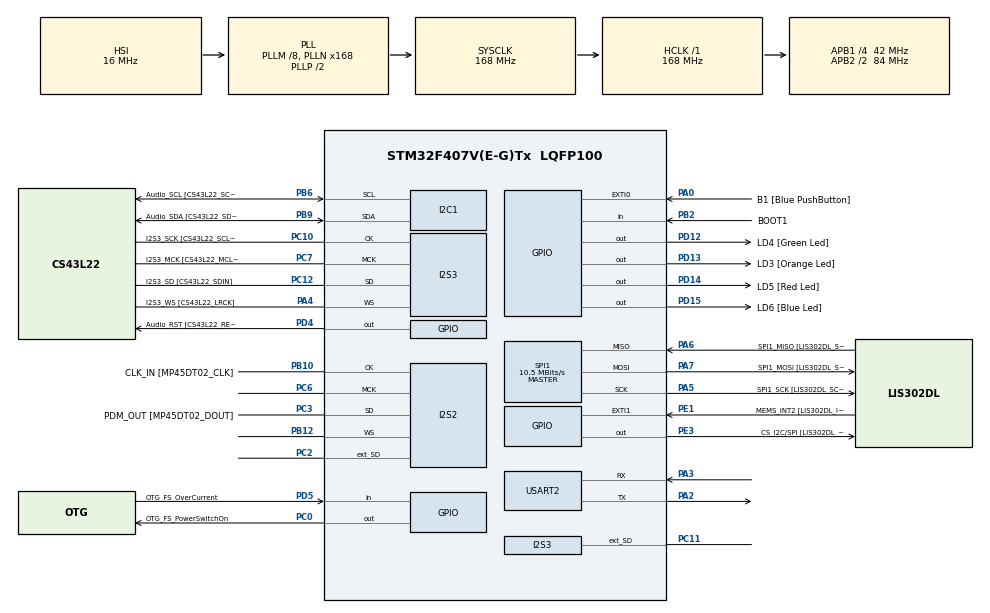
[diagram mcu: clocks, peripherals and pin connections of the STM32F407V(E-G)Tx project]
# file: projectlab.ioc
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I2S2.AudioFreq=I2S_AUDIOFREQ_32K
I2S2.ErrorAudioFreq=1.9 %
I2S2.FullDuplexMode=I2S_FULLDUPLEXMODE_ENABLE
I2S2.Mode=I2S_MODE_MASTER_RX
I2S2.RealAudioFreq=32.608 KHz
I2S3.AudioFreq=I2S_AUDIOFREQ_48K
I2S3.ErrorAudioFreq=-2.34 %
I2S3.FullDuplexMode=I2S_FULLDUPLEXMODE_ENABLE
I2S3.RealAudioFreq=46.875 KHz
Mcu.Family=STM32F4
Mcu.Name=STM32F407V(E-G)Tx
Mcu.Package=LQFP100
NVIC.PriorityGroup=NVIC_PRIORITYGROUP_0
PA0-WKUP.GPIO_Label=B1 [Blue PushButton]
PA0-WKUP.Signal=GPXTI0
PA10.GPIO_Label=OTG_FS_ID
PA10.GPIO_Mode=GPIO_MODE_AF_PP
PA10.GPIO_PuPd=GPIO_NOPULL
PA10.GPIO_Speed=GPIO_SPEED_FREQ_LOW
PA10.Signal=USB_OTG_FS_ID
PA11.GPIO_Label=OTG_FS_DM
PA11.GPIO_Mode=GPIO_MODE_AF_PP
PA11.GPIO_PuPd=GPIO_NOPULL
PA11.GPIO_Speed=GPIO_SPEED_FREQ_LOW
PA11.Signal=USB_OTG_FS_DM
PA12.GPIO_Label=OTG_FS_DP
PA12.GPIO_Mode=GPIO_MODE_AF_PP
PA12.GPIO_PuPd=GPIO_NOPULL
PA12.GPIO_Speed=GPIO_SPEED_FREQ_LOW
PA12.Signal=USB_OTG_FS_DP
PA13.GPIO_Label=SWDIO
PA13.Signal=SYS_JTMS-SWDIO
PA14.GPIO_Label=SWCLK
PA14.Signal=SYS_JTCK-SWCLK
PA2.Mode=Asynchronous
PA2.Signal=USART2_TX
PA3.Mode=Asynchronous
PA3.Signal=USART2_RX
PA4.GPIO_Label=I2S3_WS [CS43L22_LRCK]
PA4.GPIO_Mode=GPIO_MODE_AF_PP
PA4.GPIO_PuPd=GPIO_NOPULL
PA4.GPIO_Speed=GPIO_SPEED_FREQ_LOW
PA4.Mode=Full_Duplex_Master
PA4.Signal=I2S3_WS
PA5.GPIO_Label=SPI1_SCK [LIS302DL_SCL/SPC]
PA5.GPIO_Mode=GPIO_MODE_AF_PP
PA5.GPIO_PuPd=GPIO_NOPULL
PA5.GPIO_Speed=GPIO_SPEED_FREQ_LOW
PA5.Mode=Full_Duplex_Master
PA5.Signal=SPI1_SCK
PA6.GPIO_Label=SPI1_MISO [LIS302DL_SDO]
PA6.GPIO_Mode=GPIO_MODE_AF_PP
PA6.GPIO_PuPd=GPIO_NOPULL
PA6.GPIO_Speed=GPIO_SPEED_FREQ_LOW
PA6.Mode=Full_Duplex_Master
PA6.Signal=SPI1_MISO
PA7.GPIO_Label=SPI1_MOSI [LIS302DL_SDA/SDI/SDO]
PA7.GPIO_Mode=GPIO_MODE_AF_PP
PA7.GPIO_PuPd=GPIO_NOPULL
PA7.GPIO_Speed=GPIO_SPEED_FREQ_LOW
PA7.Mode=Full_Duplex_Master
PA7.Signal=SPI1_MOSI
PA9.GPIO_Label=VBUS_FS
PA9.GPIO_Mode=GPIO_MODE_INPUT
PA9.GPIO_PuPd=GPIO_NOPULL
PA9.Signal=USB_OTG_FS_VBUS
PB10.GPIO_Label=CLK_IN [MP45DT02_CLK]
PB10.GPIO_Mode=GPIO_MODE_AF_PP
PB10.GPIO_PuPd=GPIO_NOPULL
PB10.GPIO_Speed=GPIO_SPEED_FREQ_LOW
PB10.Mode=Full_Duplex_Master
PB10.Signal=I2S2_CK
PB12.Mode=Full_Duplex_Master
PB12.Signal=I2S2_WS
PB2.GPIO_Label=BOOT1
PB2.GPIO_Mode=GPIO_MODE_INPUT
PB2.GPIO_PuPd=GPIO_NOPULL
PB2.Signal=GPIO_Input
PB3.GPIO_Label=SWO
PB3.Signal=SYS_JTDO-SWO
PB6.GPIO_Label=Audio_SCL [CS43L22_SCL]
PB6.GPIO_Mode=GPIO_MODE_AF_OD
PB6.GPIO_PuPd=GPIO_NOPULL
PB6.GPIO_Speed=GPIO_SPEED_FREQ_LOW
PB6.Mode=I2C
PB6.Signal=I2C1_SCL
PB9.GPIO_Label=Audio_SDA [CS43L22_SDA]
PB9.GPIO_Mode=GPIO_MODE_AF_OD
PB9.GPIO_PuPd=GPIO_NOPULL
PB9.GPIO_Speed=GPIO_SPEED_FREQ_LOW
PB9.Mode=I2C
PB9.Signal=I2C1_SDA
PC0.GPIO_Label=OTG_FS_PowerSwitchOn
PC0.GPIO_PuPd=GPIO_NOPULL
PC0.GPIO_Speed=GPIO_SPEED_FREQ_LOW
PC0.PinState=GPIO_PIN_SET
PC0.Signal=GPIO_Output
PC10.GPIO_Label=I2S3_SCK [CS43L22_SCLK]
PC10.GPIO_Mode=GPIO_MODE_AF_PP
PC10.GPIO_PuPd=GPIO_NOPULL
PC10.GPIO_Speed=GPIO_SPEED_FREQ_LOW
PC10.Mode=Full_Duplex_Master
PC10.Signal=I2S3_CK
PC11.Mode=Full_Duplex_Master
PC11.Signal=I2S3_ext_SD
PC12.GPIO_Label=I2S3_SD [CS43L22_SDIN]
PC12.GPIO_Mode=GPIO_MODE_AF_PP
PC12.GPIO_PuPd=GPIO_NOPULL
PC12.GPIO_Speed=GPIO_SPEED_FREQ_LOW
PC12.Mode=Full_Duplex_Master
PC12.Signal=I2S3_SD
PC14-OSC32_IN.GPIO_Label=PC14-OSC32_IN
PC14-OSC32_IN.Signal=RCC_OSC32_IN
PC15-OSC32_OUT.GPIO_Label=PC15-OSC32_OUT
PC15-OSC32_OUT.Signal=RCC_OSC32_OUT
PC2.Mode=Full_Duplex_Master
PC2.Signal=I2S2_ext_SD
PC3.GPIO_Label=PDM_OUT [MP45DT02_DOUT]
PC3.GPIO_Mode=GPIO_MODE_AF_PP
PC3.GPIO_PuPd=GPIO_NOPULL
PC3.GPIO_Speed=GPIO_SPEED_FREQ_LOW
PC3.Mode=Full_Duplex_Master
PC3.Signal=I2S2_SD
PC6.Mode=Master_Clock_Activated
PC6.Signal=I2S2_MCK
PC7.GPIO_Label=I2S3_MCK [CS43L22_MCLK]
PC7.GPIO_Mode=GPIO_MODE_AF_PP
PC7.GPIO_PuPd=GPIO_NOPULL
PC7.GPIO_Speed=GPIO_SPEED_FREQ_LOW
PC7.Mode=Master_Clock_Activated
PC7.Signal=I2S3_MCK
PD12.GPIO_Label=LD4 [Green Led]
PD12.GPIO_PuPd=GPIO_NOPULL
PD12.GPIO_Speed=GPIO_SPEED_FREQ_LOW
PD12.Signal=GPIO_Output
PD13.GPIO_Label=LD3 [Orange Led]
PD13.GPIO_PuPd=GPIO_NOPULL
PD13.GPIO_Speed=GPIO_SPEED_FREQ_LOW
PD13.Signal=GPIO_Output
PD14.GPIO_Label=LD5 [Red Led]
PD14.GPIO_PuPd=GPIO_NOPULL
PD14.GPIO_Speed=GPIO_SPEED_FREQ_LOW
PD14.Signal=GPIO_Output
PD15.GPIO_Label=LD6 [Blue Led]
PD15.GPIO_PuPd=GPIO_NOPULL
PD15.GPIO_Speed=GPIO_SPEED_FREQ_LOW
PD15.Signal=GPIO_Output
PD4.GPIO_Label=Audio_RST [CS43L22_RESET]
PD4.GPIO_PuPd=GPIO_NOPULL
PD4.GPIO_Speed=GPIO_SPEED_FREQ_LOW
PD4.Signal=GPIO_Output
PD5.GPIO_Label=OTG_FS_OverCurrent
PD5.GPIO_Mode=GPIO_MODE_INPUT
PD5.GPIO_PuPd=GPIO_NOPULL
PD5.Signal=GPIO_Input
PE1.GPIO_Label=MEMS_INT2 [LIS302DL_INT2]
PE1.GPIO_ModeDefaultEXTI=GPIO_MODE_EVT_RISING
PE1.GPIO_PuPd=GPIO_NOPULL
PE1.Signal=GPXTI1
PE3.GPIO_Label=CS_I2C/SPI [LIS302DL_CS_I2C/SPI]
PE3.GPIO_PuPd=GPIO_NOPULL
PE3.GPIO_Speed=GPIO_SPEED_FREQ_LOW
PE3.Signal=GPIO_Output
PH0-OSC_IN.GPIO_Label=PH0-OSC_IN
PH0-OSC_IN.Signal=RCC_OSC_IN
PH1-OSC_OUT.GPIO_Label=PH1-OSC_OUT
PH1-OSC_OUT.Signal=RCC_OSC_OUT
ProjectManager.HeapSize=0x200
ProjectManager.StackSize=0x400
ProjectManager.TargetToolchain=SW4STM32
RCC.48MHZClocksFreq_Value=48000000
RCC.AHBFreq_Value=168000000
RCC.APB1CLKDivider=RCC_HCLK_DIV4
RCC.APB1Freq_Value=42000000
RCC.APB1TimFreq_Value=84000000
RCC.APB2CLKDivider=RCC_HCLK_DIV2
RCC.APB2Freq_Value=84000000
RCC.APB2TimFreq_Value=168000000
RCC.CortexFreq_Value=168000000
RCC.HCLKFreq_Value=168000000
RCC.HSE_VALUE=8000000
RCC.HSI_VALUE=16000000
RCC.LSE_VALUE=32768
RCC.PLLM=8
RCC.PLLN=168
RCC.PLLQ=7
RCC.SYSCLKFreq_VALUE=168000000
RCC.SYSCLKSource=RCC_SYSCLKSOURCE_PLLCLK
RCC.VCOOutputFreq_Value=336000000
SPI1.BaudRatePrescaler=SPI_BAUDRATEPRESCALER_8
SPI1.CalculateBaudRate=10.5 MBits/s
SPI1.Mode=SPI_MODE_MASTER
board=STM32F407G-DISC1

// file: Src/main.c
/**
 ******************************************************************************
 * File Name          : main.c
 * Description        : Main program body
 ******************************************************************************
 *
 * COPYRIGHT(c) 2559 STMicroelectronics
 *
 * Redistribution and use in source and binary forms, with or without modification,
 * are permitted provided that the following conditions are met:
 *   1. Redistributions of source code must retain the above copyright notice,
 *      this list of conditions and the following disclaimer.
 *   2. Redistributions in binary form must reproduce the above copyright notice,
 *      this list of conditions and the following disclaimer in the documentation
 *      and/or other materials provided with the distribution.
 *   3. Neither the name of STMicroelectronics nor the names of its contributors
 *      may be used to endorse or promote products derived from this software
 *      without specific prior written permission.
 *
 * THIS SOFTWARE IS PROVIDED BY THE COPYRIGHT HOLDERS AND CONTRIBUTORS "AS IS"
 * AND ANY EXPRESS OR IMPLIED WARRANTIES, INCLUDING, BUT NOT LIMITED TO, THE
 * IMPLIED WARRANTIES OF MERCHANTABILITY AND FITNESS FOR A PARTICULAR PURPOSE ARE
 * DISCLAIMED. IN NO EVENT SHALL THE COPYRIGHT HOLDER OR CONTRIBUTORS BE LIABLE
 * FOR ANY DIRECT, INDIRECT, INCIDENTAL, SPECIAL, EXEMPLARY, OR CONSEQUENTIAL
 * DAMAGES (INCLUDING, BUT NOT LIMITED TO, PROCUREMENT OF SUBSTITUTE GOODS OR
 * SERVICES; LOSS OF USE, DATA, OR PROFITS; OR BUSINESS INTERRUPTION) HOWEVER
 * CAUSED AND ON ANY THEORY OF LIABILITY, WHETHER IN CONTRACT, STRICT LIABILITY,
 * OR TORT (INCLUDING NEGLIGENCE OR OTHERWISE) ARISING IN ANY WAY OUT OF THE USE
 * OF THIS SOFTWARE, EVEN IF ADVISED OF THE POSSIBILITY OF SUCH DAMAGE.
 *
 ******************************************************************************
 */
#include "main.h"
#include "stm32f4xx_hal.h"

I2C_HandleTypeDef hi2c1;

I2S_HandleTypeDef hi2s2;
I2S_HandleTypeDef hi2s3;

SPI_HandleTypeDef hspi1;

UART_HandleTypeDef huart2;

/* USER CODE BEGIN PV */
/* Private variables ---------------------------------------------------------*/
#define M_PI 3.14159265359
#define audiofreq 46875.0
double freq[] = { 220.0, 246.942, 130.813, 146.832, 164.814, 174.614, 195.998 };
uint16_t graph[7][400];
int ns[100];
int width = 80, height = 23;
int px, py;
int monster = 0;
int score = 0;
int sx[1010], sy[1010];
int ex[1010], ey[1010];
int status[1000];
int ani = 0;
char map[30][90];
int lose = 0;
char initmap[][81] =
		{
				"                                                                               ",
				"                                                      Score :   0000           ",
				"                                                                               ",
				"                                                                               ",
				"                                                                               ",
				"                                                                               ",
				"                                                                               ",
				"                                                                               ",
				"                                                                               ",
				"                                                                               ",
				"                                                                               ",
				"                                                                               ",
				"                                                                               ",
				"                                                                               ",
				"                                                                               ",
				"                                                                               ",
				"                                                                               ",
				"                                                                               ",
				"                                                                               ",
				"                                                                               ",
				"                                                                               ",
				"###############################################################################",
				"###############################################################################" };
/* USER CODE END PV */

void SystemClock_Config(void);
void Error_Handler(void);
static void MX_GPIO_Init(void);
static void MX_I2C1_Init(void);
static void MX_I2S2_Init(void);
static void MX_I2S3_Init(void);
static void MX_SPI1_Init(void);
static void MX_USART2_UART_Init(void);

/* USER CODE BEGIN PFP */
/* Private function prototypes -----------------------------------------------*/

/* USER CODE END PFP */

/* USER CODE BEGIN 0 */
int rand(unsigned long int time, int value) {
	time = time * 1103515245UL + 12345;
	return (unsigned int) (time / 65536) % value;
}

void accelerameter_init() {
	//SPI transmit
	// bring low to activate slave
	HAL_GPIO_WritePin(GPIOE, GPIO_PIN_3, GPIO_PIN_RESET);
	// set 0x67 to 0x20
	uint8_t address, data;
	address = 0x20;
	HAL_SPI_Transmit(&hspi1, &address, 1, 50);
	data = 0x67;
	HAL_SPI_Transmit(&hspi1, &data, 1, 50);
	// bring cs high
	HAL_GPIO_WritePin(GPIOE, GPIO_PIN_3, GPIO_PIN_SET);
}

void microphone_init() {
	return;
}

void speaker_init() {
	uint8_t send[2];
	uint8_t tmp;

	// power-up sequence

	// hold reset low
	HAL_GPIO_WritePin(GPIOD, GPIO_PIN_4, GPIO_PIN_RESET);
	// delay until power supplies are stable
	HAL_Delay(100);

	// bring reset high
	HAL_GPIO_WritePin(GPIOD, GPIO_PIN_4, GPIO_PIN_SET);

	// 3. set 0x01 to 0x02 (power ctl. 1)
	send[0] = 0x02;
	send[1] = 0x01;
	HAL_I2C_Master_Transmit(&hi2c1, 0x94, send, 2, 1000);

	// desired register setting

	// set volume a,b
	send[0] = 0x20;
	send[1] = 0xF0;
	HAL_I2C_Master_Transmit(&hi2c1, 0x94, send, 2, 1000);
	send[0] = 0x21;
	send[1] = 0xF0;
	HAL_I2C_Master_Transmit(&hi2c1, 0x94, send, 2, 1000);

	// required initialization setting

	// set 0x00 to 0x99
	send[0] = 0x00;
	send[1] = 0x99;
	HAL_I2C_Master_Transmit(&hi2c1, 0x94, send, 2, 1000);
	// set 0x47 to 0x80
	send[0] = 0x47;
	send[1] = 0x80;
	HAL_I2C_Master_Transmit(&hi2c1, 0x94, send, 2, 1000);
	// set 1'b to bit 7 to 0x32
	send[0] = 0x32;
	HAL_I2C_Master_Transmit(&hi2c1, 0x94, send, 1, 1000);
	HAL_I2C_Master_Receive(&hi2c1, 0x94, &tmp, 1, 1000);
	send[1] = tmp | 128;
	HAL_I2C_Master_Transmit(&hi2c1, 0x94, send, 2, 1000);
	// set 0'b to bit 7 to 0x32
	send[0] = 0x32;
	HAL_I2C_Master_Transmit(&hi2c1, 0x94, send, 1, 1000);
	HAL_I2C_Master_Receive(&hi2c1, 0x94, &tmp, 1, 1000);
	send[1] = tmp & 127;
	HAL_I2C_Master_Transmit(&hi2c1, 0x94, send, 2, 1000);
	// 4.5. Write 0x00 to register 0x00.
	send[0] = 0x00;
	send[1] = 0x00;
	HAL_I2C_Master_Transmit(&hi2c1, 0x94, send, 2, 1000);

	// set 0x9E to 0x02 (power ctl.1)
	send[0] = 0x02;
	send[1] = 0x9E;
	HAL_I2C_Master_Transmit(&hi2c1, 0x94, send, 2, 1000);

	// 0 to 0xFFF
	for (int i = 0; i < 7; i++) {
		ns[i] = (int) (audiofreq / freq[i]);
		for (int j = 0; j < ns[i]; j++) {
			graph[i][j] = (sin(2 * M_PI * j / ns[i]) + 1) * ((0xfff + 1) / 2);
		}
	}
}

void get_accelerameter(int8_t *axis) {
	HAL_GPIO_WritePin(GPIOE, GPIO_PIN_3, GPIO_PIN_RESET);
	// transmit address for receive data
	uint8_t address;
	// x
	//////////////////////////////////////////////////
	address = 0x29 + 0x80;
	HAL_SPI_Transmit(&hspi1, &address, 1, 50);
	HAL_SPI_Receive(&hspi1, &axis[0], 1, 50);

	// y
	//////////////////////////////////////////////////

	address = 0x2B + 0x80;
	HAL_SPI_Transmit(&hspi1, &address, 1, 50);
	HAL_SPI_Receive(&hspi1, &axis[1], 1, 50);

	// z
	//////////////////////////////////////////////////
	address = 0x2C + 0x80;
	HAL_SPI_Transmit(&hspi1, &address, 1, 50);
	HAL_SPI_Receive(&hspi1, &axis[2], 1, 50);
	//////////////////////////////////////////////////

	// bring cs high
	HAL_GPIO_WritePin(GPIOE, GPIO_PIN_3, GPIO_PIN_SET);
}
int absolute(int x) {
	return x < 0 ? -x : x;
}

int get_microphone() {
	int n = 100;
	uint16_t pdm_stream[n * 17];
	int pdm_signal[n * 17];
	int buffer[n * 17];
	int pcm_signal[n * 17];
	int reverse[17];

	HAL_I2S_Receive(&hi2s2, pdm_stream, n, 1000);
	for (int i = 0; i < n; i++) {
		for (int j = 0; j < 16; j++) {
			reverse[j] = pdm_stream[i] % 2;
			pdm_stream[i] >>= 1;
		}

		for (int j = 0; j < 16; j++) {
			pdm_signal[i * 16 + j] = reverse[15 - j];
		}
	}

	for (int i = 7; i + 8 < n * 16; i++) {
		int tmp = 0;
		for (int j = -7; j <= 8; j++)
			tmp += pdm_signal[i + j];
		buffer[i] = absolute(tmp - 8);
	}

	int ans = 0;
	for (int i = 14; i + 16 < n * 16; i++) {
		for (int j = -7; j <= 8; j++)
			ans += buffer[i + j];
	}

	char a[100];
	int len = sprintf(a, "%d", ans);
	return ans;
}

void playsound(char *str, int size) {
	for (int i = 0; i < size; i++) {
		if (str[i] - 'A' >= 0 && str[i] - 'A' < 7) {

			for (int j = 0; j < (int) (freq[str[i] - 'A'] / 2); j++)
				HAL_I2S_Transmit(&hi2s3, graph[str[i] - 'A'], ns[str[i] - 'A'],
						1000);
		}
	}
}

void writemario() {
	ani++;
	ani %= 2;
	map[px - 2][py] = 'O';
	map[px - 1][py] = '|';
	map[px - 1][py - 1] = '/';
	map[px - 1][py + 1] = '\\';
	map[px][py - 1 + ani] = '/';
	map[px][py + ani] = '\\';

}

void writemap() {
	for (int i = 0; i < height; i++) {
		HAL_UART_Transmit(&huart2, map[i], width, 1000);
		HAL_UART_Transmit(&huart2, "\n\r", 2, 1000);
	}
	HAL_UART_Transmit(&huart2, "\033[0;0H", strlen("\033[0;0H"), 1000);
}

void resetmap() {
	for (int i = 0; i < height; i++)
		for (int j = 0; j < width; j++)
			map[i][j] = initmap[i][j];
}

void writemonster() {
	for (int i = 1; i <= monster; i++) {
		if (status[i] == 0)
			continue;
		map[ex[i] - 2][ey[i]] = '-';
		map[ex[i] - 1][ey[i]] = '|';
		map[ex[i]][ey[i]] = '-';
		int temp = i;
		int p = 0;
		while (temp) {
			p++;
			map[ex[i] - 2][ey[i] - p] = '-';
			map[ex[i] - 1][ey[i] - p] = (temp % 10) + '0';
			map[ex[i]][ey[i] - p] = '-';
			temp /= 10;
		}
		map[ex[i] - 2][ey[i] - p - 1] = '-';
		map[ex[i] - 1][ey[i] - p - 1] = '|';
		map[ex[i]][ey[i] - p - 1] = '-';

		sx[i] = ex[i] - 2;
		sy[i] = ey[i] - p - 1;

	}
}

void addmonster() {
	monster++;
	status[monster] = 1;
	ex[monster] = 20;
	ey[monster] = 79;
	sx[monster] = 20;
	sy[monster] = 79;
}

int checkcollision() {
	int c = 0;
	for (int i = 1; i <= monster; i++) {
		if (status[i] == 1) {
			if (px >= sx[i] && py + 1 >= sy[i] && ex[i] >= px - 2
					&& ey[i] >= py - 1) {
				if (px <= 18) {
					playsound("AD", 2);
					score++;
					status[i] = 0;
				} else
					return 1;
			}
		} else
			c++;
	}

	return 0;
}

void writescore() {
	sprintf(&map[1][65], "%04d", score);
}
void writeend() {
	sprintf(&map[4][37], "Your score : %4d !!", score);
	sprintf(&map[6][30], "press user button to start new game");
}
void updatemonster() {
	for (int i = 1; i <= monster; i++)
		if (status[i] == 1) {
			ey[i]--;
			sy[i]--;
			if (ey[i] < 0)
				status[i] = 0;
		}
}
/* USER CODE END 0 */

int main(void) {

	/* MCU Configuration----------------------------------------------------------*/

	/* Reset of all peripherals, Initializes the Flash interface and the Systick. */
	HAL_Init();

	/* Configure the system clock */
	SystemClock_Config();

	/* Initialize all configured peripherals */
	MX_GPIO_Init();
	MX_I2C1_Init();
	MX_I2S2_Init();
	MX_I2S3_Init();
	MX_SPI1_Init();
	MX_USART2_UART_Init();

	/* USER CODE BEGIN 2 */
	accelerameter_init();
	microphone_init();
	speaker_init();
	int firsttime=0;
	/* USER CODE END 2 */

	/* Infinite loop */
	while (1) {

		/* USER CODE BEGIN 3 */

		//delay for stable sound
		if (firsttime==0 || HAL_GPIO_ReadPin(GPIOA, 1 << 0)) {
			firsttime=1;
			int8_t axis[4];
			int maxer = 10;
			int countdown = 3;
			int count = 0;
			lose = 0;
			score = 0;
			monster = 0;
			px = 20;
			py = 15;

			HAL_Delay(1000);
			int old_sound = get_microphone();

			while (1) {
				resetmap();
				int new_sound = get_microphone();
				if (px >= 5 && new_sound > old_sound + 1000 && px >= 19) {
					px -= 7;
				} else {
					if (px <= 19)
						px++;
				}
				old_sound = new_sound;

				int ran = rand((HAL_GetTick() * 3 + 5) * 7 + 9, 5);
				if (ran == 4) {
					count++;
					if (count >= maxer) {
						addmonster();
						count = 0;
						if (maxer > 0) {
							countdown--;
							if (countdown == 0) {
								maxer--;
								countdown = 3;
							}

						}
					}
				}

				get_accelerameter(axis);
				if (py >= 10 && axis[0] >= 30)
					py -= 2;
				else if (py <= 75 && axis[0] <= -30)
					py += 2;

				updatemonster();
				writemonster();
				writemario();
				writescore();
				writemap();
				int tmp = checkcollision();
				if (tmp == 1) {
					lose = 1;
					break;
				}

			}

			writeend();
			writemap();
		}
		HAL_Delay(1000);
	}

	/* USER CODE END 3 */

}

/** System Clock Configuration
 */
void SystemClock_Config(void) {

	RCC_OscInitTypeDef RCC_OscInitStruct;
	RCC_ClkInitTypeDef RCC_ClkInitStruct;
	RCC_PeriphCLKInitTypeDef PeriphClkInitStruct;

	/**Configure the main internal regulator output voltage
	 */
	__HAL_RCC_PWR_CLK_ENABLE()
	;

	__HAL_PWR_VOLTAGESCALING_CONFIG(PWR_REGULATOR_VOLTAGE_SCALE1);

	/**Initializes the CPU, AHB and APB busses clocks
	 */
	RCC_OscInitStruct.OscillatorType = RCC_OSCILLATORTYPE_HSI;
	RCC_OscInitStruct.HSIState = RCC_HSI_ON;
	RCC_OscInitStruct.HSICalibrationValue = 16;
	RCC_OscInitStruct.PLL.PLLState = RCC_PLL_ON;
	RCC_OscInitStruct.PLL.PLLSource = RCC_PLLSOURCE_HSI;
	RCC_OscInitStruct.PLL.PLLM = 8;
	RCC_OscInitStruct.PLL.PLLN = 168;
	RCC_OscInitStruct.PLL.PLLP = RCC_PLLP_DIV2;
	RCC_OscInitStruct.PLL.PLLQ = 7;
	if (HAL_RCC_OscConfig(&RCC_OscInitStruct) != HAL_OK) {
		Error_Handler();
	}

	/**Initializes the CPU, AHB and APB busses clocks
	 */
	RCC_ClkInitStruct.ClockType = RCC_CLOCKTYPE_HCLK | RCC_CLOCKTYPE_SYSCLK
			| RCC_CLOCKTYPE_PCLK1 | RCC_CLOCKTYPE_PCLK2;
	RCC_ClkInitStruct.SYSCLKSource = RCC_SYSCLKSOURCE_PLLCLK;
	RCC_ClkInitStruct.AHBCLKDivider = RCC_SYSCLK_DIV1;
	RCC_ClkInitStruct.APB1CLKDivider = RCC_HCLK_DIV4;
	RCC_ClkInitStruct.APB2CLKDivider = RCC_HCLK_DIV2;

	if (HAL_RCC_ClockConfig(&RCC_ClkInitStruct, FLASH_LATENCY_5) != HAL_OK) {
		Error_Handler();
	}

	PeriphClkInitStruct.PeriphClockSelection = RCC_PERIPHCLK_I2S;
	PeriphClkInitStruct.PLLI2S.PLLI2SN = 192;
	PeriphClkInitStruct.PLLI2S.PLLI2SR = 2;
	if (HAL_RCCEx_PeriphCLKConfig(&PeriphClkInitStruct) != HAL_OK) {
		Error_Handler();
	}

	/**Configure the Systick interrupt time
	 */
	HAL_SYSTICK_Config(HAL_RCC_GetHCLKFreq() / 1000);

	/**Configure the Systick
	 */
	HAL_SYSTICK_CLKSourceConfig(SYSTICK_CLKSOURCE_HCLK);

	/* SysTick_IRQn interrupt configuration */
	HAL_NVIC_SetPriority(SysTick_IRQn, 0, 0);
}

/* I2C1 init function */
static void MX_I2C1_Init(void) {

	hi2c1.Instance = I2C1;
	hi2c1.Init.ClockSpeed = 100000;
	hi2c1.Init.DutyCycle = I2C_DUTYCYCLE_2;
	hi2c1.Init.OwnAddress1 = 0;
	hi2c1.Init.AddressingMode = I2C_ADDRESSINGMODE_7BIT;
	hi2c1.Init.DualAddressMode = I2C_DUALADDRESS_DISABLE;
	hi2c1.Init.OwnAddress2 = 0;
	hi2c1.Init.GeneralCallMode = I2C_GENERALCALL_DISABLE;
	hi2c1.Init.NoStretchMode = I2C_NOSTRETCH_DISABLE;
	if (HAL_I2C_Init(&hi2c1) != HAL_OK) {
		Error_Handler();
	}

}

/* I2S2 init function */
static void MX_I2S2_Init(void) {

	hi2s2.Instance = SPI2;
	hi2s2.Init.Mode = I2S_MODE_MASTER_RX;
	hi2s2.Init.Standard = I2S_STANDARD_PHILIPS;
	hi2s2.Init.DataFormat = I2S_DATAFORMAT_16B;
	hi2s2.Init.MCLKOutput = I2S_MCLKOUTPUT_ENABLE;
	hi2s2.Init.AudioFreq = I2S_AUDIOFREQ_32K;
	hi2s2.Init.CPOL = I2S_CPOL_LOW;
	hi2s2.Init.ClockSource = I2S_CLOCK_PLL;
	hi2s2.Init.FullDuplexMode = I2S_FULLDUPLEXMODE_ENABLE;
	if (HAL_I2S_Init(&hi2s2) != HAL_OK) {
		Error_Handler();
	}

}

/* I2S3 init function */
static void MX_I2S3_Init(void) {

	hi2s3.Instance = SPI3;
	hi2s3.Init.Mode = I2S_MODE_MASTER_TX;
	hi2s3.Init.Standard = I2S_STANDARD_PHILIPS;
	hi2s3.Init.DataFormat = I2S_DATAFORMAT_16B;
	hi2s3.Init.MCLKOutput = I2S_MCLKOUTPUT_ENABLE;
	hi2s3.Init.AudioFreq = I2S_AUDIOFREQ_48K;
	hi2s3.Init.CPOL = I2S_CPOL_LOW;
	hi2s3.Init.ClockSource = I2S_CLOCK_PLL;
	hi2s3.Init.FullDuplexMode = I2S_FULLDUPLEXMODE_ENABLE;
	if (HAL_I2S_Init(&hi2s3) != HAL_OK) {
		Error_Handler();
	}

}

/* SPI1 init function */
static void MX_SPI1_Init(void) {

	hspi1.Instance = SPI1;
	hspi1.Init.Mode = SPI_MODE_MASTER;
	hspi1.Init.Direction = SPI_DIRECTION_2LINES;
	hspi1.Init.DataSize = SPI_DATASIZE_8BIT;
	hspi1.Init.CLKPolarity = SPI_POLARITY_LOW;
	hspi1.Init.CLKPhase = SPI_PHASE_1EDGE;
	hspi1.Init.NSS = SPI_NSS_SOFT;
	hspi1.Init.BaudRatePrescaler = SPI_BAUDRATEPRESCALER_8;
	hspi1.Init.FirstBit = SPI_FIRSTBIT_MSB;
	hspi1.Init.TIMode = SPI_TIMODE_DISABLE;
	hspi1.Init.CRCCalculation = SPI_CRCCALCULATION_DISABLE;
	hspi1.Init.CRCPolynomial = 10;
	if (HAL_SPI_Init(&hspi1) != HAL_OK) {
		Error_Handler();
	}

}

/* USART2 init function */
static void MX_USART2_UART_Init(void) {

	huart2.Instance = USART2;
	huart2.Init.BaudRate = 115200;
	huart2.Init.WordLength = UART_WORDLENGTH_8B;
	huart2.Init.StopBits = UART_STOPBITS_1;
	huart2.Init.Parity = UART_PARITY_NONE;
	huart2.Init.Mode = UART_MODE_TX_RX;
	huart2.Init.HwFlowCtl = UART_HWCONTROL_NONE;
	huart2.Init.OverSampling = UART_OVERSAMPLING_16;
	if (HAL_UART_Init(&huart2) != HAL_OK) {
		Error_Handler();
	}

}

/** Configure pins as
 * Analog
 * Input
 * Output
 * EVENT_OUT
 * EXTI
 PA9   ------> USB_OTG_FS_VBUS
 PA10   ------> USB_OTG_FS_ID
 PA11   ------> USB_OTG_FS_DM
 PA12   ------> USB_OTG_FS_DP
 */
static void MX_GPIO_Init(void) {

	GPIO_InitTypeDef GPIO_InitStruct;

	/* GPIO Ports Clock Enable */
	__HAL_RCC_GPIOE_CLK_ENABLE()
	;
	__HAL_RCC_GPIOC_CLK_ENABLE()
	;
	__HAL_RCC_GPIOH_CLK_ENABLE()
	;
	__HAL_RCC_GPIOA_CLK_ENABLE()
	;
	__HAL_RCC_GPIOB_CLK_ENABLE()
	;
	__HAL_RCC_GPIOD_CLK_ENABLE()
	;

	/*Configure GPIO pin Output Level */
	HAL_GPIO_WritePin(CS_I2C_SPI_GPIO_Port, CS_I2C_SPI_Pin, GPIO_PIN_RESET);

	/*Configure GPIO pin Output Level */
	HAL_GPIO_WritePin(OTG_FS_PowerSwitchOn_GPIO_Port, OTG_FS_PowerSwitchOn_Pin,
			GPIO_PIN_SET);

	/*Configure GPIO pin Output Level */
	HAL_GPIO_WritePin(GPIOD,
	LD4_Pin | LD3_Pin | LD5_Pin | LD6_Pin | Audio_RST_Pin, GPIO_PIN_RESET);

	/*Configure GPIO pin : CS_I2C_SPI_Pin */
	GPIO_InitStruct.Pin = CS_I2C_SPI_Pin;
	GPIO_InitStruct.Mode = GPIO_MODE_OUTPUT_PP;
	GPIO_InitStruct.Pull = GPIO_NOPULL;
	GPIO_InitStruct.Speed = GPIO_SPEED_FREQ_LOW;
	HAL_GPIO_Init(CS_I2C_SPI_GPIO_Port, &GPIO_InitStruct);

	/*Configure GPIO pin : OTG_FS_PowerSwitchOn_Pin */
	GPIO_InitStruct.Pin = OTG_FS_PowerSwitchOn_Pin;
	GPIO_InitStruct.Mode = GPIO_MODE_OUTPUT_PP;
	GPIO_InitStruct.Pull = GPIO_NOPULL;
	GPIO_InitStruct.Speed = GPIO_SPEED_FREQ_LOW;
	HAL_GPIO_Init(OTG_FS_PowerSwitchOn_GPIO_Port, &GPIO_InitStruct);

	/*Configure GPIO pin : B1_Pin */
	GPIO_InitStruct.Pin = B1_Pin;
	GPIO_InitStruct.Mode = GPIO_MODE_IT_RISING;
	GPIO_InitStruct.Pull = GPIO_NOPULL;
	HAL_GPIO_Init(B1_GPIO_Port, &GPIO_InitStruct);

	/*Configure GPIO pin : BOOT1_Pin */
	GPIO_InitStruct.Pin = BOOT1_Pin;
	GPIO_InitStruct.Mode = GPIO_MODE_INPUT;
	GPIO_InitStruct.Pull = GPIO_NOPULL;
	HAL_GPIO_Init(BOOT1_GPIO_Port, &GPIO_InitStruct);

	/*Configure GPIO pins : LD4_Pin LD3_Pin LD5_Pin LD6_Pin
	 Audio_RST_Pin */
	GPIO_InitStruct.Pin = LD4_Pin | LD3_Pin | LD5_Pin | LD6_Pin | Audio_RST_Pin;
	GPIO_InitStruct.Mode = GPIO_MODE_OUTPUT_PP;
	GPIO_InitStruct.Pull = GPIO_NOPULL;
	GPIO_InitStruct.Speed = GPIO_SPEED_FREQ_LOW;
	HAL_GPIO_Init(GPIOD, &GPIO_InitStruct);

	/*Configure GPIO pin : VBUS_FS_Pin */
	GPIO_InitStruct.Pin = VBUS_FS_Pin;
	GPIO_InitStruct.Mode = GPIO_MODE_INPUT;
	GPIO_InitStruct.Pull = GPIO_NOPULL;
	HAL_GPIO_Init(VBUS_FS_GPIO_Port, &GPIO_InitStruct);

	/*Configure GPIO pins : OTG_FS_ID_Pin OTG_FS_DM_Pin OTG_FS_DP_Pin */
	GPIO_InitStruct.Pin = OTG_FS_ID_Pin | OTG_FS_DM_Pin | OTG_FS_DP_Pin;
	GPIO_InitStruct.Mode = GPIO_MODE_AF_PP;
	GPIO_InitStruct.Pull = GPIO_NOPULL;
	GPIO_InitStruct.Speed = GPIO_SPEED_FREQ_LOW;
	GPIO_InitStruct.Alternate = GPIO_AF10_OTG_FS;
	HAL_GPIO_Init(GPIOA, &GPIO_InitStruct);

	/*Configure GPIO pin : OTG_FS_OverCurrent_Pin */
	GPIO_InitStruct.Pin = OTG_FS_OverCurrent_Pin;
	GPIO_InitStruct.Mode = GPIO_MODE_INPUT;
	GPIO_InitStruct.Pull = GPIO_NOPULL;
	HAL_GPIO_Init(OTG_FS_OverCurrent_GPIO_Port, &GPIO_InitStruct);

	/*Configure GPIO pin : MEMS_INT2_Pin */
	GPIO_InitStruct.Pin = MEMS_INT2_Pin;
	GPIO_InitStruct.Mode = GPIO_MODE_EVT_RISING;
	GPIO_InitStruct.Pull = GPIO_NOPULL;
	HAL_GPIO_Init(MEMS_INT2_GPIO_Port, &GPIO_InitStruct);

}

void Error_Handler(void) {
	while (1) {
	}
}

/************************ (C) COPYRIGHT STMicroelectronics *****END OF FILE****/
